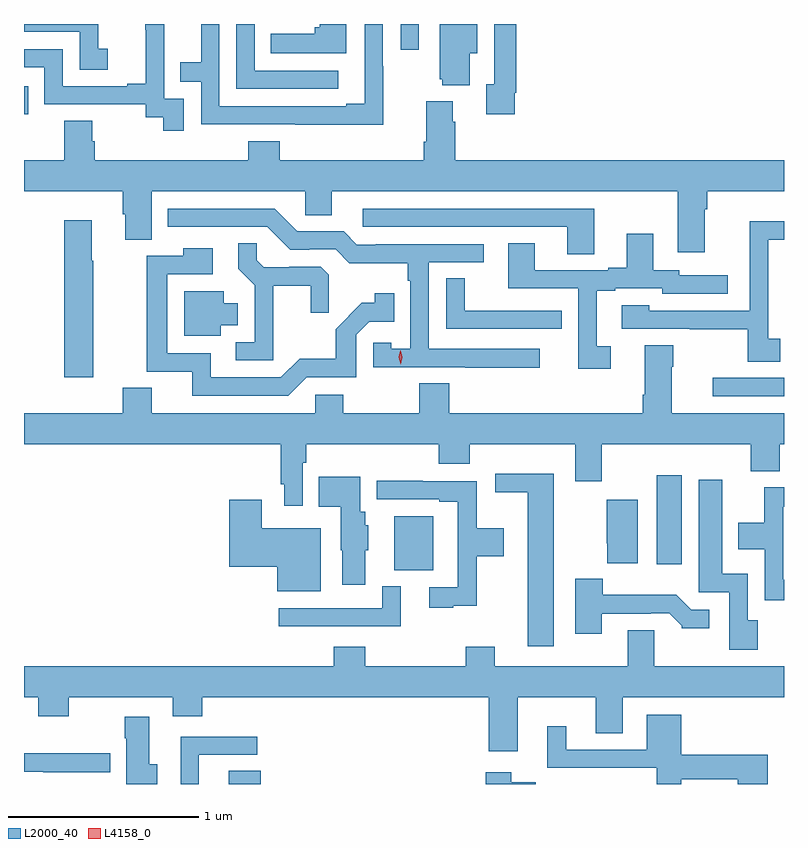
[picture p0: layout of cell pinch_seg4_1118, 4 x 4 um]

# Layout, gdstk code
import gdstk
lib = gdstk.Library(unit=1e-6, precision=1e-09)
def R(c, l, rs):  # rectangles x0, y0, x1, y1
    for r in rs: c.add(gdstk.rectangle(r[:2], r[2:], *l))
def P(c, l, *ps):  # polygons
    for p in ps: c.add(gdstk.Polygon(p, *l))
L2000_40 = (2000, 40)
L4158_0 = (4158, 0)

pinch_seg4_1118 = lib.new_cell('pinch_seg4_1118')
R(pinch_seg4_1118, L2000_40, [(425.069,788.372,425.237,788.441), (425.939,789.497,426.145,789.781), (427.322,789.528,427.453,789.997), (427.617,790.413,427.991,790.509), (423.991,791.898,424.013,792.045), (425.973,792.237,426.069,792.372)])
P(pinch_seg4_1118, L2000_40, [(426.337,792.218),(426.376,792.218),(426.376,792.372),(426.179,792.372),(426.179,792.081),(426.191,792.081),(426.191,792.05),(426.337,792.05)],
  [(424.432,792.241),(424.383,792.241),(424.383,792.372),(423.991,792.372),(423.991,792.33),(424.284,792.33),(424.284,792.132),(424.432,792.132)],
  [(425.686,792.372),(425.547,792.372),(425.547,792.354),(425.521,792.354),(425.521,792.322),(425.29,792.322),(425.29,792.218),(425.686,792.218)],
  [(425.644,792.126),(425.205,792.126),(425.205,792.372),(425.109,792.372),(425.109,792.03),(425.644,792.03)],
  [(424.833,791.979),(424.728,791.979),(424.728,792.209),(424.73,792.209),(424.73,792.372),(424.63,792.372),(424.63,792.341),(424.631,792.341),(424.631,792.058),(424.535,792.058),(424.535,792.045),(424.194,792.045),(424.194,792.24),(423.991,792.24),(423.991,792.144),(424.098,792.144),(424.098,791.949),(424.632,791.949),(424.632,791.881),(424.725,791.881),(424.725,791.811),(424.833,791.811)],
  [(425.883,792.149),(425.88,792.149),(425.88,792.372),(425.784,792.372),(425.784,791.953),(425.687,791.953),(425.687,791.94),(425.019,791.94),(425.019,792.372),(424.923,792.372),(424.923,792.17),(424.813,792.17),(424.813,792.069),(424.923,792.069),(424.923,791.844),(425.419,791.844),(425.419,791.843),(425.883,791.843)],
  [(426.574,792.01),(426.581,792.01),(426.581,792.372),(426.465,792.372),(426.465,792.054),(426.425,792.054),(426.425,791.898),(426.574,791.898)],
  [(427.573,791.396),(427.586,791.396),(427.586,791.492),(427.991,791.492),(427.991,791.656),(426.26,791.656),(426.26,791.858),(426.247,791.858),(426.247,791.965),(426.107,791.965),(426.107,791.752),(426.095,791.752),(426.095,791.656),(425.336,791.656),(425.336,791.755),(425.171,791.755),(425.171,791.656),(424.364,791.656),(424.364,791.754),(424.351,791.754),(424.351,791.864),(424.204,791.864),(424.204,791.656),(423.991,791.656),(423.991,791.492),(424.511,791.492),(424.511,791.37),(424.523,791.37),(424.523,791.236),(424.663,791.236),(424.663,791.492),(425.472,791.492),(425.472,791.365),(425.611,791.365),(425.611,791.492),(427.433,791.492),(427.433,791.172),(427.573,791.172)],
  [(426.991,791.4),(425.775,791.4),(425.775,791.304),(426.851,791.304),(426.851,791.161),(426.991,791.161)],
  [(426.706,790.662),(426.12,790.662),(426.12,791.118),(426.412,791.118),(426.412,791.214),(425.842,791.214),(425.842,791.211),(425.742,791.211),(425.673,791.28),(425.43,791.28),(425.31,791.4),(424.748,791.4),(424.748,791.304),(425.271,791.304),(425.391,791.184),(425.492,791.184),(425.492,791.187),(425.631,791.187),(425.704,791.114),(426.012,791.114),(426.012,791.021),(426.024,791.021),(426.024,790.663),(425.925,790.663),(425.925,790.695),(425.829,790.695),(425.829,790.566),(426.313,790.566),(426.313,790.564),(426.706,790.564)],
  [(424.356,791.125),(424.348,791.125),(424.348,791.338),(424.202,791.338),(424.202,790.512),(424.356,790.512)],
  [(427.972,790.716),(427.908,790.716),(427.908,791.237),(427.991,791.237),(427.991,791.335),(427.81,791.335),(427.81,791.096),(427.812,791.096),(427.812,790.863),(427.281,790.863),(427.281,790.891),(427.137,790.891),(427.137,790.767),(427.495,790.767),(427.495,790.765),(427.8,790.765),(427.8,790.594),(427.972,790.594)],
  [(427.078,790.677),(427.006,790.677),(427.006,790.968),(427.102,790.968),(427.102,790.98),(427.35,790.98),(427.35,790.953),(427.696,790.953),(427.696,791.049),(427.44,791.049),(427.44,791.076),(427.303,791.076),(427.303,791.269),(427.163,791.269),(427.163,791.089),(427.067,791.089),(427.067,791.076),(426.679,791.076),(426.679,791.219),(426.539,791.219),(426.539,790.98),(426.909,790.98),(426.909,790.557),(427.078,790.557)],
  [(425.303,790.994),(425.5,790.994),(425.5,790.851),(425.594,790.851),(425.594,791.053),(425.553,791.094),(425.388,791.094),(425.388,791.091),(425.254,791.091),(425.217,791.128),(425.217,791.219),(425.119,791.219),(425.119,791.083),(425.205,790.997),(425.205,790.698),(425.106,790.698),(425.106,790.602),(425.303,790.602)],
  [(425.478,790.512),(425.739,790.512),(425.739,790.737),(425.808,790.806),(425.939,790.806),(425.939,790.954),(425.838,790.954),(425.838,790.904),(425.768,790.904),(425.631,790.766),(425.631,790.611),(425.442,790.611),(425.343,790.512),(424.975,790.512),(424.975,790.638),(424.746,790.638),(424.746,791.055),(424.984,791.055),(424.984,791.191),(424.828,791.191),(424.828,791.151),(424.638,791.151),(424.638,790.542),(424.877,790.542),(424.877,790.416),(425.382,790.416)],
  [(426.82,790.862),(426.707,790.862),(426.707,790.863),(426.312,790.863),(426.312,791.033),(426.213,791.033),(426.213,790.767),(426.82,790.767)],
  [(425.026,790.787),(425.116,790.787),(425.116,790.903),(425.041,790.903),(425.041,790.966),(424.835,790.966),(424.835,790.73),(425.026,790.73)],
  [(425.457,790.064),(425.477,790.064),(425.477,790.16),(426.173,790.16),(426.173,790.058),(426.338,790.058),(426.338,790.16),(426.893,790.16),(426.893,789.966),(427.033,789.966),(427.033,790.16),(427.817,790.16),(427.817,790.019),(427.969,790.019),(427.969,790.16),(427.991,790.16),(427.991,790.324),(427.399,790.324),(427.399,790.568),(427.407,790.568),(427.407,790.681),(427.259,790.681),(427.259,790.42),(427.247,790.42),(427.247,790.324),(426.23,790.324),(426.23,790.481),(426.07,790.481),(426.07,790.324),(425.67,790.324),(425.67,790.422),(425.523,790.422),(425.523,790.324),(424.663,790.324),(424.663,790.457),(424.511,790.457),(424.511,790.324),(423.991,790.324),(423.991,790.16),(425.341,790.16),(425.341,789.949),(425.361,789.949),(425.361,789.837),(425.457,789.837)],
  [(426.778,790.006),(426.471,790.006),(426.471,789.908),(426.641,789.908),(426.641,789.096),(426.778,789.096)],
  [(425.788,789.603),(425.803,789.603),(425.803,789.735),(425.788,789.735),(425.788,789.804),(425.761,789.804),(425.761,789.988),(425.542,789.988),(425.542,789.83),(425.657,789.83),(425.657,789.603),(425.666,789.603),(425.666,789.42),(425.788,789.42)],
  [(427.853,789.234),(427.8,789.234),(427.8,789.478),(427.666,789.478),(427.666,789.973),(427.541,789.973),(427.541,789.381),(427.704,789.381),(427.704,789.078),(427.853,789.078)],
  [(426.251,789.311),(426.374,789.311),(426.374,789.571),(426.517,789.571),(426.517,789.718),(426.374,789.718),(426.374,789.966),(426.089,789.966),(426.089,789.968),(425.847,789.968),(425.847,789.87),(426.176,789.87),(426.176,789.858),(426.273,789.858),(426.273,789.408),(426.123,789.408),(426.123,789.3),(426.251,789.3)],
  [(427.991,789.447),(427.986,789.447),(427.986,789.83),(427.991,789.83),(427.991,789.934),(427.888,789.934),(427.888,789.748),(427.751,789.748),(427.751,789.608),(427.89,789.608),(427.89,789.339),(427.991,789.339)],
  [(427.222,789.868),(427.058,789.868),(427.058,789.64),(427.06,789.64),(427.06,789.533),(427.222,789.533)],
  [(425.554,789.718),(425.242,789.718),(425.242,789.868),(425.072,789.868),(425.072,789.515),(425.324,789.515),(425.324,789.386),(425.554,789.386)],
  [(427.033,789.267),(427.289,789.267),(427.289,789.27),(427.388,789.27),(427.452,789.206),(427.452,789.191),(427.597,789.191),(427.597,789.288),(427.503,789.288),(427.425,789.367),(427.036,789.367),(427.036,789.451),(426.893,789.451),(426.893,789.162),(427.033,789.162)],
  [(425.974,789.412),(425.877,789.412),(425.877,789.297),(425.331,789.297),(425.331,789.201),(425.974,789.201)],
  [(426.589,788.828),(427.001,788.828),(427.001,788.638),(427.141,788.638),(427.141,788.828),(427.991,788.828),(427.991,788.992),(427.309,788.992),(427.309,789.182),(427.169,789.182),(427.169,788.992),(426.469,788.992),(426.469,789.094),(426.317,789.094),(426.317,788.992),(425.786,788.992),(425.786,789.094),(425.621,789.094),(425.621,788.992),(423.991,788.992),(423.991,788.828),(424.067,788.828),(424.067,788.729),(424.227,788.729),(424.227,788.828),(424.775,788.828),(424.775,788.729),(424.928,788.729),(424.928,788.828),(426.437,788.828),(426.437,788.544),(426.589,788.544)],
  [(427.45,788.398),(427.748,788.398),(427.748,788.372),(427.906,788.372),(427.906,788.527),(427.45,788.527),(427.45,788.737),(427.268,788.737),(427.268,788.553),(426.844,788.553),(426.844,788.677),(426.746,788.677),(426.746,788.457),(427.32,788.457),(427.32,788.372),(427.45,788.372)],
  [(424.693,788.475),(424.651,788.475),(424.651,788.725),(424.522,788.725),(424.522,788.612),(424.529,788.612),(424.529,788.372),(424.693,788.372)],
  [(424.912,788.526),(425.218,788.526),(425.218,788.622),(424.815,788.622),(424.815,788.372),(424.912,788.372)],
  [(424.444,788.534),(423.991,788.534),(423.991,788.436),(424.093,788.436),(424.093,788.434),(424.444,788.434)],
  [(426.685,788.38),(426.556,788.38),(426.556,788.434),(426.422,788.434),(426.422,788.372),(426.685,788.372)])
P(pinch_seg4_1118, L4158_0, [(425.974,790.581),(425.974,790.581),(425.963,790.617),(425.972,790.653),(425.972,790.653),(425.973,790.653),(425.983,790.618),(425.974,790.581)])

lib.write_gds('pinch_seg4_1118.gds')
